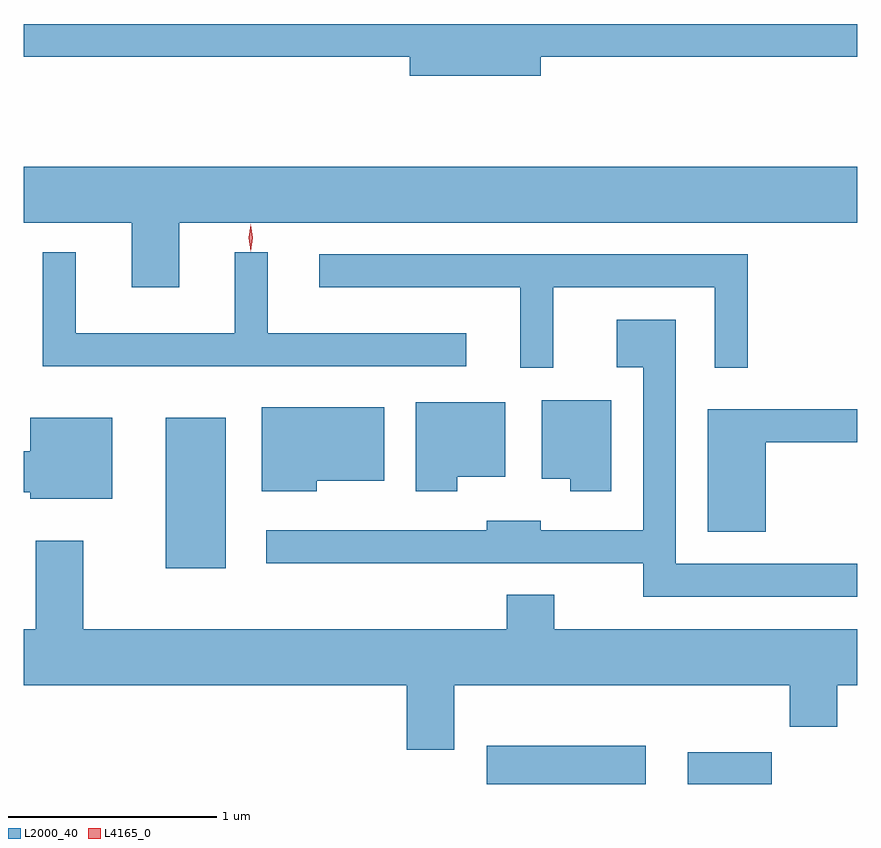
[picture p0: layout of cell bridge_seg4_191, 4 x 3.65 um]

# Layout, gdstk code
import gdstk
lib = gdstk.Library(unit=1e-6, precision=1e-09)
def R(c, l, rs):  # rectangles x0, y0, x1, y1
    for r in rs: c.add(gdstk.rectangle(r[:2], r[2:], *l))
def P(c, l, *ps):  # polygons
    for p in ps: c.add(gdstk.Polygon(p, *l))
L2000_40 = (2000, 40)
L4165_0 = (4165, 0)

bridge_seg4_191 = lib.new_cell('bridge_seg4_191')
R(bridge_seg4_191, L2000_40, [(1126.576,1280.941,1127.339,1281.124), (1127.541,1280.941,1127.944,1281.094), (1125.036,1281.976,1125.324,1282.699)])
P(bridge_seg4_191, L2000_40, [(1126.834,1284.431),(1128.354,1284.431),(1128.354,1284.589),(1124.354,1284.589),(1124.354,1284.431),(1126.206,1284.431),(1126.206,1284.341),(1126.834,1284.341)],
  [(1125.099,1283.636),(1128.354,1283.636),(1128.354,1283.904),(1124.354,1283.904),(1124.354,1283.636),(1124.871,1283.636),(1124.871,1283.326),(1125.099,1283.326)],
  [(1126.478,1283.104),(1125.524,1283.104),(1125.524,1283.493),(1125.366,1283.493),(1125.366,1283.104),(1124.604,1283.104),(1124.604,1283.493),(1124.446,1283.493),(1124.446,1282.946),(1126.478,1282.946)],
  [(1126.894,1283.326),(1127.671,1283.326),(1127.671,1282.938),(1127.829,1282.938),(1127.829,1283.484),(1125.773,1283.484),(1125.773,1283.326),(1126.736,1283.326),(1126.736,1282.938),(1126.894,1282.938)],
  [(1128.354,1281.999),(1127.484,1281.999),(1127.484,1283.169),(1127.201,1283.169),(1127.201,1282.941),(1127.326,1282.941),(1127.326,1282.159),(1126.834,1282.159),(1126.834,1282.204),(1126.576,1282.204),(1126.576,1282.159),(1125.518,1282.159),(1125.518,1282.001),(1127.326,1282.001),(1127.326,1281.841),(1128.354,1281.841)],
  [(1127.174,1282.784),(1126.841,1282.784),(1126.841,1282.406),(1126.976,1282.406),(1126.976,1282.346),(1127.174,1282.346)],
  [(1126.434,1282.416),(1126.664,1282.416),(1126.664,1282.774),(1126.236,1282.774),(1126.236,1282.346),(1126.434,1282.346)],
  [(1125.759,1282.396),(1126.084,1282.396),(1126.084,1282.749),(1125.496,1282.749),(1125.496,1282.346),(1125.759,1282.346)],
  [(1127.914,1282.581),(1128.354,1282.581),(1128.354,1282.739),(1127.636,1282.739),(1127.636,1282.151),(1127.914,1282.151)],
  [(1124.779,1282.699),(1124.386,1282.699),(1124.386,1282.539),(1124.354,1282.539),(1124.354,1282.341),(1124.386,1282.341),(1124.386,1282.311),(1124.779,1282.311)],
  [(1126.419,1281.416),(1128.031,1281.416),(1128.031,1281.216),(1128.259,1281.216),(1128.259,1281.416),(1128.354,1281.416),(1128.354,1281.684),(1126.899,1281.684),(1126.899,1281.849),(1126.671,1281.849),(1126.671,1281.684),(1124.639,1281.684),(1124.639,1282.109),(1124.411,1282.109),(1124.411,1281.684),(1124.354,1281.684),(1124.354,1281.416),(1126.191,1281.416),(1126.191,1281.106),(1126.419,1281.106)])
P(bridge_seg4_191, L4165_0, [(1125.442,1283.498),(1125.433,1283.562),(1125.442,1283.626),(1125.442,1283.627),(1125.443,1283.626),(1125.452,1283.562),(1125.444,1283.498),(1125.443,1283.498)])

lib.write_gds('bridge_seg4_191.gds')
